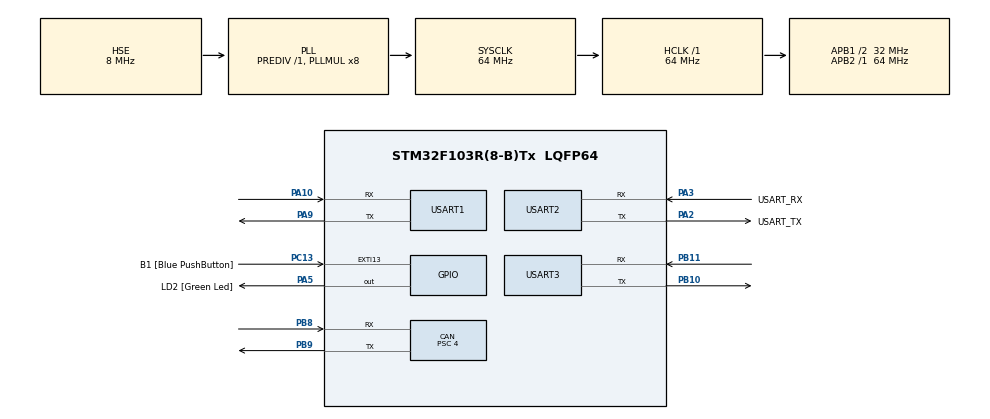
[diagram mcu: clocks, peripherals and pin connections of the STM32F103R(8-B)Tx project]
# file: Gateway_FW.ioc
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CAN.BS1=CAN_BS1_13TQ
CAN.BS2=CAN_BS2_2TQ
CAN.CalculateBaudRate=500000
CAN.CalculateTimeBit=2000
CAN.CalculateTimeQuantum=125.0
CAN.Prescaler=4
Mcu.Family=STM32F1
Mcu.Name=STM32F103R(8-B)Tx
Mcu.Package=LQFP64
NVIC.CAN1_RX1_IRQn=true\:0\:0\:false\:false\:true\:true\:true\:true
NVIC.CAN1_SCE_IRQn=true\:0\:0\:false\:false\:true\:true\:true\:true
NVIC.EXTI15_10_IRQn=true\:0\:0\:false\:false\:true\:true\:true\:true
NVIC.PriorityGroup=NVIC_PRIORITYGROUP_4
NVIC.TIM3_IRQn=true\:0\:0\:false\:false\:true\:true\:true\:true
NVIC.USART1_IRQn=true\:0\:0\:false\:false\:true\:true\:true\:true
NVIC.USART3_IRQn=true\:0\:0\:false\:false\:true\:true\:true\:true
NVIC.USB_HP_CAN1_TX_IRQn=true\:0\:0\:false\:false\:true\:true\:true\:true
NVIC.USB_LP_CAN1_RX0_IRQn=true\:0\:0\:false\:false\:true\:true\:true\:true
PA10.Mode=Asynchronous
PA10.Signal=USART1_RX
PA13.GPIO_Label=TMS
PA13.Mode=Serial_Wire
PA13.Signal=SYS_JTMS-SWDIO
PA14.GPIO_Label=TCK
PA14.Mode=Serial_Wire
PA14.Signal=SYS_JTCK-SWCLK
PA2.GPIO_Label=USART_TX
PA2.GPIO_Mode=GPIO_MODE_AF_PP
PA2.GPIO_PuPd=GPIO_NOPULL
PA2.GPIO_Speed=GPIO_SPEED_FREQ_LOW
PA2.Mode=Asynchronous
PA2.Signal=USART2_TX
PA3.GPIO_Label=USART_RX
PA3.GPIO_Mode=GPIO_MODE_AF_PP
PA3.GPIO_PuPd=GPIO_NOPULL
PA3.GPIO_Speed=GPIO_SPEED_FREQ_LOW
PA3.Mode=Asynchronous
PA3.Signal=USART2_RX
PA5.GPIO_Label=LD2 [Green Led]
PA5.GPIO_ModeDefaultOutputPP=GPIO_MODE_OUTPUT_PP
PA5.GPIO_PuPd=GPIO_NOPULL
PA5.GPIO_Speed=GPIO_SPEED_FREQ_LOW
PA5.Signal=GPIO_Output
PA9.Mode=Asynchronous
PA9.Signal=USART1_TX
PB10.Mode=Asynchronous
PB10.Signal=USART3_TX
PB11.Mode=Asynchronous
PB11.Signal=USART3_RX
PB3.GPIO_Label=SWO
PB3.Signal=SYS_JTDO-TRACESWO
PB8.Mode=CAN_Activate
PB8.Signal=CAN_RX
PB9.Mode=CAN_Activate
PB9.Signal=CAN_TX
PC13-TAMPER-RTC.GPIO_Label=B1 [Blue PushButton]
PC13-TAMPER-RTC.GPIO_PuPd=GPIO_NOPULL
PC13-TAMPER-RTC.Signal=GPXTI13
PC14-OSC32_IN.Mode=LSE-External-Oscillator
PC14-OSC32_IN.Signal=RCC_OSC32_IN
PC15-OSC32_OUT.Mode=LSE-External-Oscillator
PC15-OSC32_OUT.Signal=RCC_OSC32_OUT
PD0-OSC_IN.Mode=HSE-External-Clock-Source
PD0-OSC_IN.Signal=RCC_OSC_IN
PD1-OSC_OUT.Mode=HSE-External-Clock-Source
PD1-OSC_OUT.Signal=RCC_OSC_OUT
ProjectManager.HeapSize=0x200
ProjectManager.StackSize=0x400
ProjectManager.TargetToolchain=STM32CubeIDE
RCC.AHBFreq_Value=64000000
RCC.APB1CLKDivider=RCC_HCLK_DIV2
RCC.APB1Freq_Value=32000000
RCC.APB1TimFreq_Value=64000000
RCC.APB2Freq_Value=64000000
RCC.APB2TimFreq_Value=64000000
RCC.HCLKFreq_Value=64000000
RCC.PLLMUL=RCC_PLL_MUL8
RCC.PLLSourceVirtual=RCC_PLLSOURCE_HSE
RCC.RTCClockSelection=RCC_RTCCLKSOURCE_LSE
RCC.SYSCLKFreq_VALUE=64000000
RCC.SYSCLKSource=RCC_SYSCLKSOURCE_PLLCLK
RCC.USBFreq_Value=64000000
TIM3.Period=1000-1
TIM3.Prescaler=6400-1
USART1.VirtualMode=VM_ASYNC
USART2.VirtualMode=VM_ASYNC
USART3.VirtualMode=VM_ASYNC
VP_TIM3_VS_ClockSourceINT.Mode=Internal
board=NUCLEO-F103RB

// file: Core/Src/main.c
/* USER CODE BEGIN Header */
/**
  ******************************************************************************
  * @file           : main.c
  * @brief          : Main program body
  ******************************************************************************
  * @attention
  *
  * Copyright (c) 2026 STMicroelectronics.
  * All rights reserved.
  *
  * This software is licensed under terms that can be found in the LICENSE file
  * in the root directory of this software component.
  * If no LICENSE file comes with this software, it is provided AS-IS.
  *
  ******************************************************************************
  */
/* USER CODE END Header */
#include "main.h"

/* USER CODE BEGIN Includes */
#include "can_message.h" // 공통 헤더
#include <gateway_defines.h>
#include <fuzzy_logic.h>
#include <comm_manager.h>
#include <stdio.h>
#include "unity.h"

// [테스트 스위치] 이 줄이 있으면 테스트 모드, 주석(//) 처리하면 정상 모드
//#define CPU_TEST_MODE
/* USER CODE END Includes */

CAN_HandleTypeDef hcan;

TIM_HandleTypeDef htim3;

UART_HandleTypeDef huart1;
UART_HandleTypeDef huart2;
UART_HandleTypeDef huart3;

/* USER CODE BEGIN PV */

#ifdef CPU_TEST_MODE
  volatile uint32_t idle_counter = 0;
  uint32_t max_idle_count = 0;
  uint8_t  benchmark_done = 0; // 기준점 측정 완료 플래그
  volatile uint32_t rx_debug_cnt = 0; // 수신 인터럽트 횟수 카운터
#endif

volatile uint8_t timer_100ms_flag = 0;

// 전역 변수로 선언
DashboardPacket_t tx_packet;

SystemState_t current_state = STATE_NORMAL;

float prev_steering_angle = 0;

uint32_t no_op_timer = 0;

uint8_t risk_score = 0;

CAN_RxHeaderTypeDef RxHeader;

/* USER CODE END PV */

void SystemClock_Config(void);
static void MX_GPIO_Init(void);
static void MX_CAN_Init(void);
static void MX_USART1_UART_Init(void);
static void MX_USART2_UART_Init(void);
static void MX_TIM3_Init(void);
static void MX_USART3_UART_Init(void);
/* USER CODE BEGIN PFP */
void Update_System_State();
extern void Run_ASPICE_Unit_Tests(void);
/* USER CODE END PFP */

int main(void)
{

  /* USER CODE BEGIN 1 */
	printf("system start...\r\n");
  /* USER CODE END 1 */

  /* MCU Configuration--------------------------------------------------------*/

  /* Reset of all peripherals, Initializes the Flash interface and the Systick. */
  HAL_Init();

  /* Configure the system clock */
  SystemClock_Config();

  /* Initialize all configured peripherals */
  MX_GPIO_Init();
  MX_CAN_Init();
  MX_USART1_UART_Init();
  MX_USART2_UART_Init();
  MX_TIM3_Init();
  MX_USART3_UART_Init();
  /* USER CODE BEGIN 2 */
    printf("\r\n=======================================================\r\n");
    printf("   ASPICE SWE.4 Unit Verification Report               \r\n");
    printf("-------------------------------------------------------\r\n");
    printf("   Target Project : Drowsiness Prevention System       \r\n");
    printf("   SW Version     : V0.8                               \r\n");
    printf("   Test Date      : %s             \r\n",__DATE__);
    printf("=======================================================\r\n\r\n");

//    Run_ASPICE_Unit_Tests();
    printf("============================================\r\n");

  // === 1. CAN 필터 및 시작 설정  ===
    CAN_FilterTypeDef sFilterConfig;
    sFilterConfig.FilterBank = 0;
    sFilterConfig.FilterMode = CAN_FILTERMODE_IDMASK;
    sFilterConfig.FilterScale = CAN_FILTERSCALE_32BIT;

    // 1. ID: 0x201 (Chassis) 기준
    sFilterConfig.FilterIdHigh = (0x201 << 5);
    sFilterConfig.FilterIdLow = 0x0000;

    // 2. Mask: 0x6FF (0x201과 0x301만 통과시키도록 설정)
    sFilterConfig.FilterMaskIdHigh = (0x6FF << 5);
    sFilterConfig.FilterMaskIdLow = 0x0000;

    sFilterConfig.FilterFIFOAssignment = CAN_RX_FIFO0;
    sFilterConfig.FilterActivation = ENABLE;
    sFilterConfig.SlaveStartFilterBank = 14;

    HAL_CAN_ConfigFilter(&hcan, &sFilterConfig);
    HAL_CAN_Start(&hcan);
    HAL_CAN_ActivateNotification(&hcan, CAN_IT_RX_FIFO0_MSG_PENDING);

    // === 2. UART(Vision) 수신 인터럽트 시작 ===
    HAL_UART_Receive_IT(&huart1, uart_rx_buffer, 8);

    // === 3. Timer3 인터럽트 시작 ===
    HAL_TIM_Base_Start_IT(&htim3);

	#ifdef CPU_TEST_MODE
	  printf("⚠️ TEST MODE: CPU Load Test Started (Loopback)\r\n");
	#else
	  printf("system start...\r\n");
	#endif

  /* USER CODE END 2 */

  /* Infinite loop */
  /* USER CODE BEGIN WHILE */
  while (1)
  {
#ifdef CPU_TEST_MODE
		  idle_counter++; // 테스트 모드일 때만 카운팅
#endif
    /* USER CODE END WHILE */

    /* USER CODE BEGIN 3 */
	  if (timer_100ms_flag == 1)
	  {
		  timer_100ms_flag = 0;

		  Update_System_State();

		  DMS_Send_Dashboard_Data(&huart1, risk_score);

#ifdef CPU_TEST_MODE
        static int time_100ms = 0;
        time_100ms++;

        // 1. [초반 3초] 아무것도 안 하고 기준점(Max Idle) 잡기
        if (time_100ms <= 30)
        {
            if (time_100ms == 30) // 3초 되는 순간 기준점 확정
            {
                 // 지금까지 3초간 센 것을 100ms 단위 평균으로 환산하거나,
                 // 간단히 지금 순간의 카운터 속도를 기준으로 잡음 (여기선 간단화된 로직 사용)
                 // *정확한 방법*: 1초 단위로 끊어서 측정. 아래 로직으로 변경.
            	benchmark_done = 1; // 기준점 확정 플래그
            	printf("\r\n>>> Calibration Done! Starting Stress Test (500 msg/100ms) <<<\r\n");
            }
        }
        // 2. [3초 이후] CAN 폭격 시작 (부하 유발)
        else
        {
            CAN_TxHeaderTypeDef TxHeader;
            uint8_t TxData[8] = {0,};
            uint32_t TxMailbox;

            TxHeader.StdId = 0x123; // 쓰레기 ID (필터에 걸려야 함)
            TxHeader.RTR = CAN_RTR_DATA;
            TxHeader.IDE = CAN_ID_STD;
            TxHeader.DLC = 8;

            // [수정] 부하를 10배로 늘림 (50 -> 500회)
            // 0.1초 안에 500번 인터럽트면 CPU가 꽤 힘들어할 겁니다.
            for(int i=0; i<5000; i++) {
                HAL_CAN_AddTxMessage(&hcan, &TxHeader, TxData, &TxMailbox);
            }
        }

        // 3. 결과 출력 (1초 마다)
        if (time_100ms % 10 == 0)
        {
            // 아직 기준점 못 잡았으면 현재 값을 최대로 가정
            if (benchmark_done == 0) {
                max_idle_count = idle_counter;
                // 3초 지났으면 이제부터 이 값은 고정 (기준점 확정)
                if (time_100ms >= 30) benchmark_done = 1;
                printf("[CALIB] Measuring Baseline... Cnt: %lu\r\n", idle_counter);
            }
            else {
                // 기준점(max_idle_count) 대비 현재 카운트가 얼마나 줄었는지 계산
                float load = (1.0f - (float)idle_counter / max_idle_count) * 100.0f;
                if(load < 0) load = 0;
                printf("[TEST] Load: %.1f%% | Cnt: %lu | Rx Msg: %lu\r\n", load, idle_counter, rx_debug_cnt);
            }

            idle_counter = 0; // 리셋
        }
#endif
	  }

  }
  /* USER CODE END 3 */
}

void SystemClock_Config(void)
{
  RCC_OscInitTypeDef RCC_OscInitStruct = {0};
  RCC_ClkInitTypeDef RCC_ClkInitStruct = {0};

  /** Initializes the RCC Oscillators according to the specified parameters
  * in the RCC_OscInitTypeDef structure.
  */
  RCC_OscInitStruct.OscillatorType = RCC_OSCILLATORTYPE_HSE;
  RCC_OscInitStruct.HSEState = RCC_HSE_BYPASS;
  RCC_OscInitStruct.HSEPredivValue = RCC_HSE_PREDIV_DIV1;
  RCC_OscInitStruct.HSIState = RCC_HSI_ON;
  RCC_OscInitStruct.PLL.PLLState = RCC_PLL_ON;
  RCC_OscInitStruct.PLL.PLLSource = RCC_PLLSOURCE_HSE;
  RCC_OscInitStruct.PLL.PLLMUL = RCC_PLL_MUL8;
  if (HAL_RCC_OscConfig(&RCC_OscInitStruct) != HAL_OK)
  {
    Error_Handler();
  }

  /** Initializes the CPU, AHB and APB buses clocks
  */
  RCC_ClkInitStruct.ClockType = RCC_CLOCKTYPE_HCLK|RCC_CLOCKTYPE_SYSCLK
                              |RCC_CLOCKTYPE_PCLK1|RCC_CLOCKTYPE_PCLK2;
  RCC_ClkInitStruct.SYSCLKSource = RCC_SYSCLKSOURCE_PLLCLK;
  RCC_ClkInitStruct.AHBCLKDivider = RCC_SYSCLK_DIV1;
  RCC_ClkInitStruct.APB1CLKDivider = RCC_HCLK_DIV2;
  RCC_ClkInitStruct.APB2CLKDivider = RCC_HCLK_DIV1;

  if (HAL_RCC_ClockConfig(&RCC_ClkInitStruct, FLASH_LATENCY_2) != HAL_OK)
  {
    Error_Handler();
  }
}

static void MX_CAN_Init(void)
{

  hcan.Instance = CAN1;
  hcan.Init.Prescaler = 4;
#ifdef CPU_TEST_MODE
  // 테스트 모드일 때는 루프백 (혼자 테스트)
  hcan.Init.Mode = CAN_MODE_LOOPBACK;
#else
  // 평소에는 노말 (외부 연결)
  hcan.Init.Mode = CAN_MODE_NORMAL;
#endif
  hcan.Init.SyncJumpWidth = CAN_SJW_1TQ;
  hcan.Init.TimeSeg1 = CAN_BS1_13TQ;
  hcan.Init.TimeSeg2 = CAN_BS2_2TQ;
  hcan.Init.TimeTriggeredMode = DISABLE;
  hcan.Init.AutoBusOff = DISABLE;
  hcan.Init.AutoWakeUp = DISABLE;
  hcan.Init.AutoRetransmission = DISABLE;
  hcan.Init.ReceiveFifoLocked = DISABLE;
  hcan.Init.TransmitFifoPriority = DISABLE;
  if (HAL_CAN_Init(&hcan) != HAL_OK)
  {
    Error_Handler();
  }

}

static void MX_TIM3_Init(void)
{

  TIM_ClockConfigTypeDef sClockSourceConfig = {0};
  TIM_MasterConfigTypeDef sMasterConfig = {0};

  htim3.Instance = TIM3;
  htim3.Init.Prescaler = 6400-1;
  htim3.Init.CounterMode = TIM_COUNTERMODE_UP;
  htim3.Init.Period = 1000-1;
  htim3.Init.ClockDivision = TIM_CLOCKDIVISION_DIV1;
  htim3.Init.AutoReloadPreload = TIM_AUTORELOAD_PRELOAD_DISABLE;
  if (HAL_TIM_Base_Init(&htim3) != HAL_OK)
  {
    Error_Handler();
  }
  sClockSourceConfig.ClockSource = TIM_CLOCKSOURCE_INTERNAL;
  if (HAL_TIM_ConfigClockSource(&htim3, &sClockSourceConfig) != HAL_OK)
  {
    Error_Handler();
  }
  sMasterConfig.MasterOutputTrigger = TIM_TRGO_RESET;
  sMasterConfig.MasterSlaveMode = TIM_MASTERSLAVEMODE_DISABLE;
  if (HAL_TIMEx_MasterConfigSynchronization(&htim3, &sMasterConfig) != HAL_OK)
  {
    Error_Handler();
  }

}

static void MX_USART1_UART_Init(void)
{

  huart1.Instance = USART1;
  huart1.Init.BaudRate = 115200;
  huart1.Init.WordLength = UART_WORDLENGTH_8B;
  huart1.Init.StopBits = UART_STOPBITS_1;
  huart1.Init.Parity = UART_PARITY_NONE;
  huart1.Init.Mode = UART_MODE_TX_RX;
  huart1.Init.HwFlowCtl = UART_HWCONTROL_NONE;
  huart1.Init.OverSampling = UART_OVERSAMPLING_16;
  if (HAL_UART_Init(&huart1) != HAL_OK)
  {
    Error_Handler();
  }

}

static void MX_USART2_UART_Init(void)
{

  huart2.Instance = USART2;
  huart2.Init.BaudRate = 115200;
  huart2.Init.WordLength = UART_WORDLENGTH_8B;
  huart2.Init.StopBits = UART_STOPBITS_1;
  huart2.Init.Parity = UART_PARITY_NONE;
  huart2.Init.Mode = UART_MODE_TX_RX;
  huart2.Init.HwFlowCtl = UART_HWCONTROL_NONE;
  huart2.Init.OverSampling = UART_OVERSAMPLING_16;
  if (HAL_UART_Init(&huart2) != HAL_OK)
  {
    Error_Handler();
  }

}

static void MX_USART3_UART_Init(void)
{

  huart3.Instance = USART3;
  huart3.Init.BaudRate = 115200;
  huart3.Init.WordLength = UART_WORDLENGTH_8B;
  huart3.Init.StopBits = UART_STOPBITS_1;
  huart3.Init.Parity = UART_PARITY_NONE;
  huart3.Init.Mode = UART_MODE_TX_RX;
  huart3.Init.HwFlowCtl = UART_HWCONTROL_NONE;
  huart3.Init.OverSampling = UART_OVERSAMPLING_16;
  if (HAL_UART_Init(&huart3) != HAL_OK)
  {
    Error_Handler();
  }

}

static void MX_GPIO_Init(void)
{
  GPIO_InitTypeDef GPIO_InitStruct = {0};

  /* GPIO Ports Clock Enable */
  __HAL_RCC_GPIOC_CLK_ENABLE();
  __HAL_RCC_GPIOD_CLK_ENABLE();
  __HAL_RCC_GPIOA_CLK_ENABLE();
  __HAL_RCC_GPIOB_CLK_ENABLE();

  /*Configure GPIO pin Output Level */
  HAL_GPIO_WritePin(LD2_GPIO_Port, LD2_Pin, GPIO_PIN_RESET);

  /*Configure GPIO pin : B1_Pin */
  GPIO_InitStruct.Pin = B1_Pin;
  GPIO_InitStruct.Mode = GPIO_MODE_IT_RISING;
  GPIO_InitStruct.Pull = GPIO_NOPULL;
  HAL_GPIO_Init(B1_GPIO_Port, &GPIO_InitStruct);

  /*Configure GPIO pin : LD2_Pin */
  GPIO_InitStruct.Pin = LD2_Pin;
  GPIO_InitStruct.Mode = GPIO_MODE_OUTPUT_PP;
  GPIO_InitStruct.Pull = GPIO_NOPULL;
  GPIO_InitStruct.Speed = GPIO_SPEED_FREQ_LOW;
  HAL_GPIO_Init(LD2_GPIO_Port, &GPIO_InitStruct);

  /* EXTI interrupt init*/
  HAL_NVIC_SetPriority(EXTI15_10_IRQn, 0, 0);
  HAL_NVIC_EnableIRQ(EXTI15_10_IRQn);

}

/* USER CODE BEGIN 4 */

// printf 출력을 위한 리타겟팅 함수
#ifdef __GNUC__
int _write(int file, char *ptr, int len)
{
    // 디버깅용 UART 채널.
    HAL_UART_Transmit(&huart2, (uint8_t *)ptr, len, 30);
    return len;
}
#endif

void HAL_TIM_PeriodElapsedCallback(TIM_HandleTypeDef *htim)
{
    if (htim->Instance == TIM3)
    {
        timer_100ms_flag = 1;
    }
}

// 1. UART 수신 콜백 (Vision)
void HAL_UART_RxCpltCallback(UART_HandleTypeDef *huart)
{
    // 매니저에게 버퍼 넘기기
    DMS_Process_UART_Data(huart, uart_rx_buffer);
}

// 2. CAN 수신 콜백 (Chassis, Body)
void HAL_CAN_RxFifo0MsgPendingCallback(CAN_HandleTypeDef *hcan)
{
    CAN_RxHeaderTypeDef RxHeader;
    uint8_t RxData[8];

    if (HAL_CAN_GetRxMessage(hcan, CAN_RX_FIFO0, &RxHeader, RxData) == HAL_OK)
    {
#ifdef CPU_TEST_MODE
    	rx_debug_cnt++;
#endif
        // 매니저에게 패킷 넘기기
        DMS_Process_CAN_Data(&RxHeader, RxData);
    }
}

void Update_System_State()
{
	// 1. 데이터 스냅샷(Snapshot)을 위한 로컬 변수 선언
	VisionData_t  vision_data_local;
	ChassisData_t chassis_data_local;
	BodyData_t    body_data_local;

	// 2. 크리티컬 섹션 (Critical Section): 인터럽트 잠시 중단
	__disable_irq();

    // 3. 전역 변수 값을 로컬 변수로 안전하게 복사
	vision_data_local  = vision_data;
	chassis_data_local = chassis_data;
	body_data_local = body_data;

    // 4. 인터럽트 다시 허용
    __enable_irq();

    // -----------------------------------------------------------
    // 이제부터는 전역변수 대신 로컬 변수(_local)만 사용합니다.
    // -----------------------------------------------------------

    // 비전, 섀시, 바디에서 에러 플래그가 하나라도 0이 아니면 고장 처리
    if (vision_data_local.err_flag != 0 || chassis_data_local.err_flag != 0 || body_data_local.err_flag != 0)
    {
        printf("body_err_flag : %d vision_err_flag : %d chassis_err_flag : %d"
        		" 🔧 SENSOR ERROR DETECTED! (Fail-Safe Mode)\r\n",
        		body_data_local.err_flag,
				vision_data_local.err_flag,
				chassis_data_local.err_flag);

        current_state = STATE_FAULT;

        DMS_Send_Control_Signal(&huart3, STATE_FAULT, 1, 1);

        return;
    }

    float current_angle = chassis_data_local.steering_angle;
    // 변화량 계산 (ABS 매크로 사용)
    float angle_diff = current_angle - prev_steering_angle;

    if (angle_diff < 0) angle_diff = -angle_diff;

    // 변화량이 2.0도 미만이면 무조작으로 간주
    if (angle_diff < 2.0f)
    {
        no_op_timer += 100; // 100ms 증가 (루프 주기)
    }
    else
    {
        no_op_timer = 0; // 조작 감지 시 리셋
        prev_steering_angle = current_angle; // 기준점 갱신
    }

    // 얼굴 인식 여부에 따른 데이터 필터링
    uint8_t safe_perclos = 0;

    if (vision_data_local.is_face_detected == 1)
    {
        safe_perclos = vision_data_local.perclos; // 얼굴 있으면 측정값 사용
    }
    else
    {
        safe_perclos = 0; // 얼굴 없으면 0점 (위험도 계산에서 제외됨)
    }

    // ms -> sec 변환
    float no_op_sec = no_op_timer / 1000.0f;

    risk_score = Compute_Integrated_Risk(
                            safe_perclos,
                            chassis_data_local.steering_std_dev,
                            body_data_local.hands_off_sec,
                            body_data_local.head_delta_cm,
							no_op_sec
                         );

    if (current_state == STATE_NORMAL)
    {
    	if (risk_score >= 75)
    	{
    		current_state = STATE_WARNING;
    	}
    }
    else if (current_state == STATE_WARNING)
    {
    	if (risk_score >= 95)
    	{
    		current_state = STATE_DANGER;  // 95점 이상 위험
    	}
    	else if (risk_score < 60)
    	{
    		current_state = STATE_NORMAL; // 복귀
    	}
    }
    else if (current_state == STATE_DANGER)
    {
    	if (risk_score < 85)
    	{
    		current_state = STATE_WARNING;
    	}
    }

    // MRM 트리거 조건 판단 (예: Danger 상태이거나, 센서가 다 죽었거나)
    uint8_t mrm_cmd = 0;
    if (current_state == STATE_DANGER || current_state == STATE_FAULT)
    {
        mrm_cmd = 1; // 멈춰!
    }

    // 제어 신호 전송 (ICD V0.1.2 규격)
    DMS_Send_Control_Signal(&huart3, current_state, mrm_cmd, 0);

    printf("%3d Risk: %3d | Eye_safe : %3d%% | detected : %3d | Hands: %3.1fs | Head: %3.1f | Steer: %3.1f | NoOp: %3.1fs\r\n",
                vision_data_local.alive_cnt,
        		risk_score,
				safe_perclos,
				vision_data_local.is_face_detected,
                body_data_local.hands_off_sec,
                body_data_local.head_delta_cm,
                chassis_data_local.steering_std_dev,
                no_op_sec
                );
}

// UART 에러 발생 시(노이즈 등) 호출됨 -> 에러 풀고 수신 다시 켜기
void HAL_UART_ErrorCallback(UART_HandleTypeDef *huart)
{
    if (huart->Instance == USART1)
    {
        // 에러 플래그 클리어 및 재수신 시작
        HAL_UART_Receive_IT(huart, uart_rx_buffer, 8);
    }
}
/* USER CODE END 4 */

void Error_Handler(void)
{
  __disable_irq();
  while (1)
  {
  }
}
